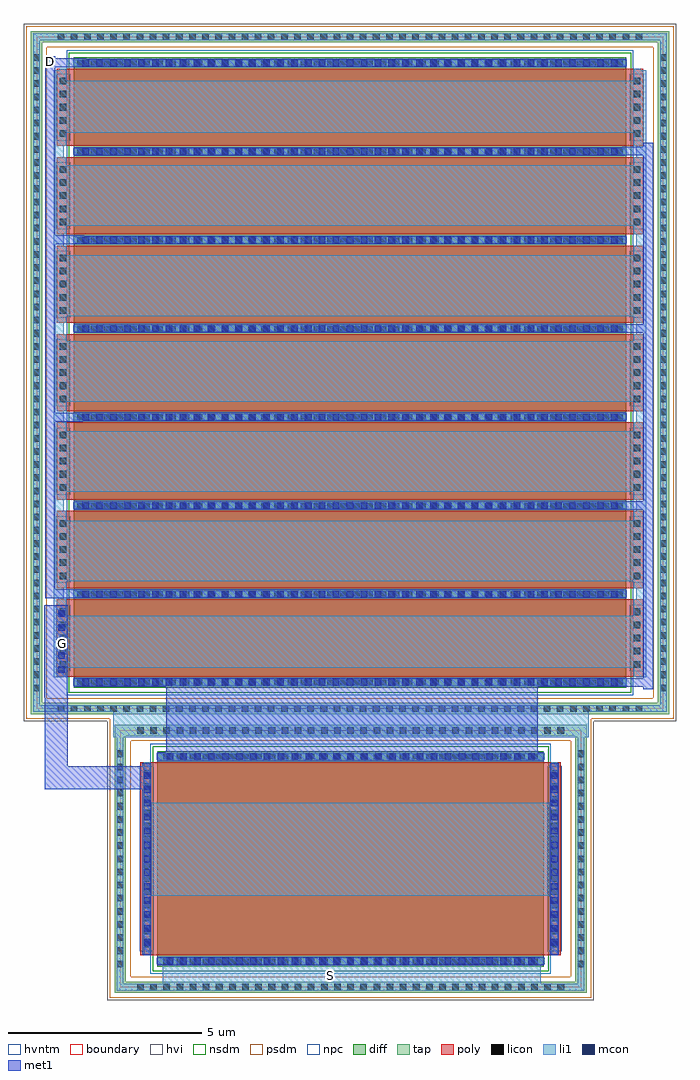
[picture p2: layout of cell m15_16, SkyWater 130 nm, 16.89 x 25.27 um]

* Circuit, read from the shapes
.subckt m15_16 D G S
XM1 D G n1 S sky130_fd_pr__nfet_g5v0d10v5 w=14.3 l=2 m=7
XM2 n1 G S S sky130_fd_pr__nfet_g5v0d10v5 w=10 l=5
.ends

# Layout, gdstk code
from math import pi, radians
import gdstk
lib = gdstk.Library(unit=1e-6, precision=1e-09)
def R(c, l, rs):  # rectangles x0, y0, x1, y1
    for r in rs: c.add(gdstk.rectangle(r[:2], r[2:], *l))
def A(c, l, x, y, w, h, nx, ny, dx, dy):  # array of equal rectangles
    R(c, l, [(x+i*dx, y+j*dy, x+i*dx+w, y+j*dy+h) for i in range(nx) for j in range(ny)])
diff = (65, 20)
tap = (65, 44)
poly = (66, 20)
licon = (66, 44)
li1 = (67, 20)
mcon = (67, 44)
met1 = (68, 20)
hvi = (75, 20)
nsdm = (93, 44)
psdm = (94, 20)
npc = (95, 20)
hvntm = (125, 20)
boundary = (235, 4)

sky130_fd_pr__nfet_g5v0d = lib.new_cell('sky130_fd_pr__nfet_g5v0d10v5_XPP34T')
R(sky130_fd_pr__nfet_g5v0d, diff, [(-2.79,-5,2.79,5)])
R(sky130_fd_pr__nfet_g5v0d, tap, [(-3.47,-6.11,3.47,-5.82), (-3.47,-5.82,-3.18,5.82), (3.18,-5.82,3.47,5.82), (-3.47,5.82,3.47,6.11)])
R(sky130_fd_pr__nfet_g5v0d, poly, [(-2.5,-5.44,2.5,5.44)])
A(sky130_fd_pr__nfet_g5v0d, licon, -2.805, -6.05, 0.17, 0.17, 17, 2, 0.34, 11.93)
A(sky130_fd_pr__nfet_g5v0d, licon, -3.41, -5.525, 0.17, 0.17, 1, 33, 0, 0.34)
A(sky130_fd_pr__nfet_g5v0d, licon, 3.24, -5.525, 0.17, 0.17, 1, 33, 0, 0.34)
A(sky130_fd_pr__nfet_g5v0d, licon, -2.295, -5.36, 0.17, 0.17, 14, 2, 0.34, 10.55)
A(sky130_fd_pr__nfet_g5v0d, licon, -2.73, -4.845, 0.17, 0.17, 1, 29, 0, 0.34)
A(sky130_fd_pr__nfet_g5v0d, licon, 2.56, -4.845, 0.17, 0.17, 1, 29, 0, 0.34)
R(sky130_fd_pr__nfet_g5v0d, li1, [(-3.41,-6.05,3.41,-5.88), (-3.41,-5.88,-3.24,5.88), (3.24,-5.88,3.41,5.88), (-2.5,-5.36,2.5,-5.19), (-2.73,-5.02,-2.56,5.02), (2.56,-5.02,2.73,5.02), (-2.5,5.19,2.5,5.36), (-3.41,5.88,3.41,6.05)])
A(sky130_fd_pr__nfet_g5v0d, mcon, -2.245, -5.36, 0.17, 0.17, 13, 2, 0.36, 10.55)
A(sky130_fd_pr__nfet_g5v0d, mcon, -2.73, -4.765, 0.17, 0.17, 1, 27, 0, 0.36)
A(sky130_fd_pr__nfet_g5v0d, mcon, 2.56, -4.765, 0.17, 0.17, 1, 27, 0, 0.36)
R(sky130_fd_pr__nfet_g5v0d, met1, [(-2.48,-5.39,2.48,-5.16), (-2.76,-5,-2.53,5), (2.53,-5,2.76,5), (-2.48,5.16,2.48,5.39)])
R(sky130_fd_pr__nfet_g5v0d, hvi, [(-3.655,-6.295,3.655,6.295)])
R(sky130_fd_pr__nfet_g5v0d, nsdm, [(-2.915,-5.125,2.915,5.125)])
R(sky130_fd_pr__nfet_g5v0d, psdm, [(-3.595,-6.235,3.595,-5.695), (-3.595,-5.695,-3.055,5.695), (3.055,-5.695,3.595,5.695), (-3.595,5.695,3.595,6.235)])
R(sky130_fd_pr__nfet_g5v0d, npc, [(-2.395,-5.46,2.395,-5.09), (-2.395,5.09,2.395,5.46)])
R(sky130_fd_pr__nfet_g5v0d, hvntm, [(-2.975,-5.185,2.975,5.185)])
R(sky130_fd_pr__nfet_g5v0d, boundary, [(-3.325,-5.965,3.325,5.965)])

c_sky130_fd_pr__nfet_g5v0d = lib.new_cell('sky130_fd_pr__nfet_g5v0d10v5_T8Q8WP')
R(c_sky130_fd_pr__nfet_g5v0d, diff, [(-8.16,-7.15,8.16,7.15)])
R(c_sky130_fd_pr__nfet_g5v0d, tap, [(-8.84,-8.26,8.84,-7.97), (-8.84,-7.97,-8.55,7.97), (8.55,-7.97,8.84,7.97), (-8.84,7.97,8.84,8.26)])
A(c_sky130_fd_pr__nfet_g5v0d, poly, -7.87, -7.59, 2, 15.18, 7, 1, 2.29, 0)
A(c_sky130_fd_pr__nfet_g5v0d, licon, -8.245, -8.2, 0.17, 0.17, 49, 2, 0.34, 16.23)
A(c_sky130_fd_pr__nfet_g5v0d, licon, -8.78, -7.565, 0.17, 0.17, 1, 45, 0, 0.34)
A(c_sky130_fd_pr__nfet_g5v0d, licon, 8.61, -7.565, 0.17, 0.17, 1, 45, 0, 0.34)
A(c_sky130_fd_pr__nfet_g5v0d, licon, -7.635, -7.51, 0.17, 0.17, 5, 2, 0.34, 14.85)
A(c_sky130_fd_pr__nfet_g5v0d, licon, -5.345, -7.51, 0.17, 0.17, 5, 2, 0.34, 14.85)
A(c_sky130_fd_pr__nfet_g5v0d, licon, -3.055, -7.51, 0.17, 0.17, 5, 2, 0.34, 14.85)
A(c_sky130_fd_pr__nfet_g5v0d, licon, -0.765, -7.51, 0.17, 0.17, 5, 2, 0.34, 14.85)
A(c_sky130_fd_pr__nfet_g5v0d, licon, 1.525, -7.51, 0.17, 0.17, 5, 2, 0.34, 14.85)
A(c_sky130_fd_pr__nfet_g5v0d, licon, 3.815, -7.51, 0.17, 0.17, 5, 2, 0.34, 14.85)
A(c_sky130_fd_pr__nfet_g5v0d, licon, 6.105, -7.51, 0.17, 0.17, 5, 2, 0.34, 14.85)
A(c_sky130_fd_pr__nfet_g5v0d, licon, -8.1, -7.055, 0.17, 0.17, 8, 42, 2.29, 0.34)
A(c_sky130_fd_pr__nfet_g5v0d, li1, -7.87, -7.51, 2, 0.17, 7, 2, 2.29, 14.85)
A(c_sky130_fd_pr__nfet_g5v0d, li1, -8.1, -7.17, 0.17, 14.34, 8, 1, 2.29, 0)
R(c_sky130_fd_pr__nfet_g5v0d, li1, [(-8.78,-8.2,8.78,-8.03), (-8.78,-8.03,-8.61,8.03), (8.61,-8.03,8.78,8.03), (-8.78,8.03,8.78,8.2)])
A(c_sky130_fd_pr__nfet_g5v0d, mcon, -8.1, -6.925, 0.17, 0.17, 8, 39, 2.29, 0.36)
A(c_sky130_fd_pr__nfet_g5v0d, met1, -5.84, -7.15, 0.23, 14.3, 4, 1, 4.58, 0)
R(c_sky130_fd_pr__nfet_g5v0d, met1, [(5.605,-7.835,5.835,-7.15), (1.035,-7.805,1.265,-7.15), (-3.555,-7.775,-3.325,-7.15), (-8.135,-7.715,-7.905,-7.15), (-8.135,-7.15,-7.9,-6.825), (-3.555,-7.15,-3.32,-6.885), (1.03,-7.15,1.265,-6.915), (5.605,-7.15,5.84,-6.945), (5.61,-6.945,5.84,7.15), (1.03,-6.915,1.26,7.15), (-3.55,-6.885,-3.32,7.15), (-8.13,-6.825,-7.9,7.15)])
R(c_sky130_fd_pr__nfet_g5v0d, hvi, [(-9.025,-8.445,9.025,8.445)])
R(c_sky130_fd_pr__nfet_g5v0d, nsdm, [(-8.285,-7.275,8.285,7.275)])
R(c_sky130_fd_pr__nfet_g5v0d, psdm, [(-8.965,-8.385,8.965,-7.845), (-8.965,-7.845,-8.425,7.845), (8.425,-7.845,8.965,7.845), (-8.965,7.845,8.965,8.385)])
A(c_sky130_fd_pr__nfet_g5v0d, npc, -7.735, -7.61, 1.73, 0.37, 7, 2, 2.29, 14.85)
R(c_sky130_fd_pr__nfet_g5v0d, hvntm, [(-8.345,-7.335,8.345,7.335)])
R(c_sky130_fd_pr__nfet_g5v0d, boundary, [(-8.695,-8.115,8.695,8.115)])

m15_16 = lib.new_cell('m15_16')
R(m15_16, li1, [(3.19,-7.24,12.97,-6.48), (2.72,-4.78,13.36,-2.37), (1.9,-0.67,14.21,0.12), (0.37,0.88,0.62,0.96), (15.45,0.88,15.7,1.12), (0.37,0.96,0.66,1.12), (0.37,1.12,15.7,2.47), (0.37,2.47,0.66,2.65), (15.45,2.47,15.7,3.36), (0.37,2.65,0.62,3.36), (0.37,3.36,15.7,4.93), (0.37,4.93,0.62,5.68), (15.45,4.93,15.7,5.68), (0.37,5.68,15.7,7.25), (0.37,7.25,0.62,8.01), (15.45,7.25,15.7,8.01), (0.37,8.01,15.7,9.58), (0.37,9.58,0.62,12.57), (15.45,9.58,15.7,10.23), (0.64,10.23,15.7,11.8), (15.45,11.8,15.7,12.57), (0.37,12.57,15.7,14.14), (0.37,14.14,0.62,14.97), (15.45,14.14,15.7,14.97), (0.37,14.97,15.7,16.32), (0.37,16.32,0.62,16.59), (15.45,16.32,15.7,16.59)])
A(m15_16, mcon, 0.48, 1, 0.17, 0.17, 1, 5, 0, 0.36)
R(m15_16, met1, [(0.135,-2.025,2.875,-1.43), (0.135,-1.43,0.73,0.365), (3.28,-1.16,12.9,0.85), (0.12,0.365,0.73,2.75), (15.62,0.57,15.88,0.64), (15.13,0.64,15.88,0.86), (15.62,0.86,15.88,5.22), (0.14,2.93,0.4,16.96), (15.12,5.22,15.88,5.44), (15.62,5.44,15.88,9.8), (15.12,9.8,15.88,10.02), (15.62,10.02,15.88,14.39), (15.08,14.39,15.88,14.61), (15.62,14.61,15.88,14.72)])
R(m15_16, psdm, [(1.815,-0.225,14.285,-0.2)])
m15_16.add(gdstk.Reference(sky130_fd_pr__nfet_g5v0d, (8.05,-3.82), rotation=3*pi/2))
m15_16.add(gdstk.Reference(c_sky130_fd_pr__nfet_g5v0d, (8.035,8.765), rotation=3*pi/2))
m15_16.add(gdstk.Label('D', (0.27,16.82), layer=68, texttype=5))
m15_16.add(gdstk.Label('S', (7.52,-6.83), layer=67, texttype=5))
m15_16.add(gdstk.Label('G', (0.58,1.75), layer=68, texttype=5))

lib.write_gds('m15_16.gds')
